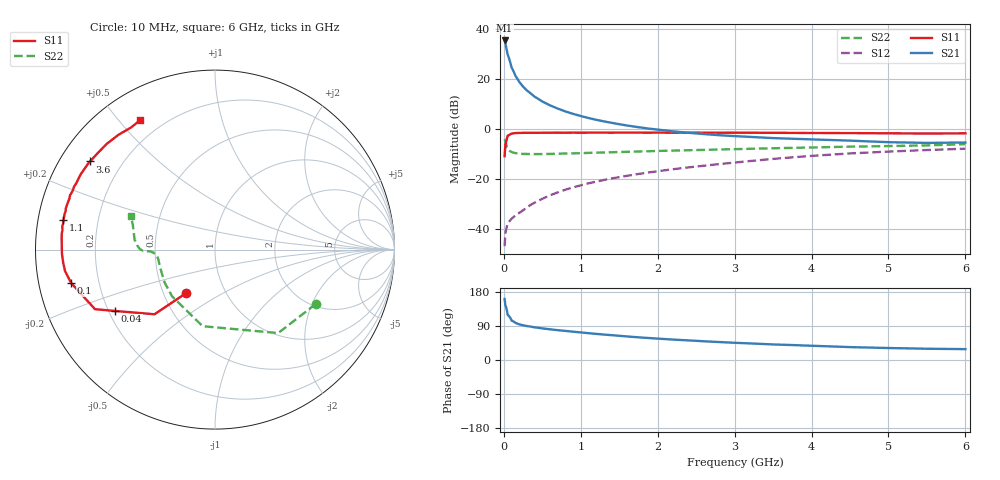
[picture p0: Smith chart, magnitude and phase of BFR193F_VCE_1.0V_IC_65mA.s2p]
! Infineon Technologies  Discrete & RF Semiconductors
! BFR193F
! VCE =  1.0 V,  IC =  65 mA
! Common Emitter S-Parameters:  Jan 2017
# GHz  S  MA  R  50
!  f  S11  S21  S12  S22
! GHz  MAG  ANG  MAG  ANG  MAG  ANG  MAG  ANG
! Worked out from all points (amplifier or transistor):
!   77 points, 10 MHz to 6 GHz, reference 50 ohm
!   highest |S21| = 35.6 dB at 10 MHz (marker M1)
!   |S21| within 3 dB of that: start of sweep to 32.62 MHz
!   unconditionally stable (mu >= 1): 299.3 MHz to 4.341 GHz; 4.569 GHz to end of sweep
!   at 130 MHz: K = 0.70, MSG = 29.0 dB, |S12| = -35.0 dB
!   at 2.2 GHz: K = 1.12, MAG = 5.5 dB, |S12| = -16.0 dB
!   at 6 GHz: K = 1.01, MAG = 0.6 dB, |S12| = -7.7 dB
!   S11 on the Smith chart (normalised r, x): 10 MHz: 0.65, -0.34; 40 MHz: 0.22, -0.27; 100 MHz: 0.10, -0.11; 1.1 GHz: 0.08, +0.10; 3.6 GHz: 0.09, +0.31; 6 GHz: 0.12, +0.57
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0.01  0.2904 -123.5  60.12 161.0  0.0046 73.5  0.6386 -28.3
0.02  0.4933 -133.1  52.31 144.9  0.0084 58.3  0.5831 -52.9
0.04  0.6542 -148.5  37.43 130.9  0.0115 46.9  0.4452 -80.8
0.05  0.7464 -153.6  31.42 119.2  0.0132 43.3  0.4323 -99.2
0.1  0.8227 -166.9  17.41 104.1  0.0162 43.0  0.3535 -132.6
0.15  0.8441 -171.9  11.87 98.0  0.0189 48.6  0.3352 -147.0
0.2  0.8485 -174.9  8.939 94.1  0.0213 53.3  0.3257 -154.4
0.25  0.8513 -177.2  7.171 91.6  0.024 57.3  0.322 -160.0
0.3  0.853 -178.5  5.994 89.6  0.0276 59.8  0.3219 -163.0
0.4  0.8538 178.9  4.498 86.1  0.0342 64.7  0.3201 -167.6
0.5  0.8547 177.2  3.616 83.5  0.0408 67.0  0.3201 -170.2
0.6  0.8569 175.6  3.027 81.0  0.0479 69.8  0.3227 -172.2
0.7  0.8584 173.8  2.605 78.7  0.0548 70.4  0.3252 -173.3
0.8  0.8566 172.8  2.285 76.8  0.0621 71.4  0.3285 -174.6
1.1  0.8606 168.9  1.688 70.8  0.0834 73.1  0.3384 -176.3
1.5  0.8622 164.5  1.269 63.9  0.1105 73.0  0.3524 -177.8
2.1  0.8603 158.6  0.95 55.2  0.1522 71.7  0.3727 -178.6
3.1  0.8565 149.6  0.72 44.6  0.2243 68.3  0.4052 -179.4
3.6  0.8517 144.8  0.661 40.4  0.264 65.6  0.4218 179.0
4.1  0.8451 139.6  0.623 36.9  0.3015 62.1  0.4373 176.1
5.1  0.8329 128.9  0.55 31.2  0.3645 54.5  0.4662 166.9
6  0.8332 120.0  0.546 28.7  0.4105 48.2  0.5055 158.2
